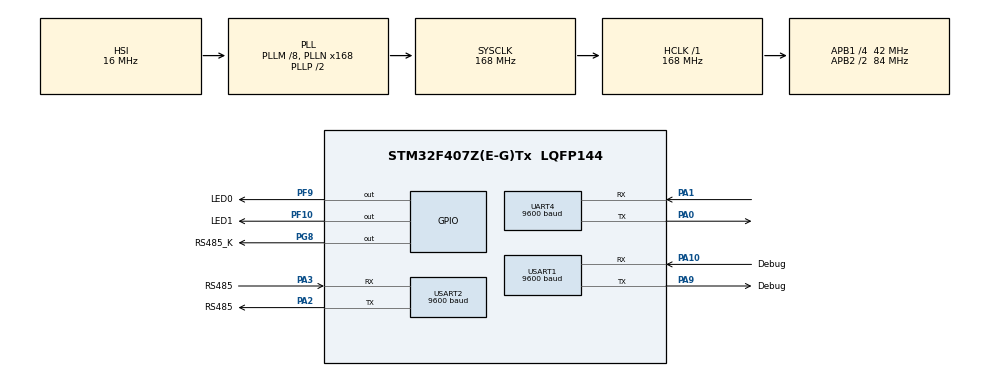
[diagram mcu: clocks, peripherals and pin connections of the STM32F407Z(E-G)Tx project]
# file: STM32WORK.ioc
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FREERTOS.Queues01=TestQueue,16,uint16_t,0,Dynamic,NULL,NULL
FREERTOS.Tasks01=defaultTask,-3,128,StartDefaultTask,Default,NULL,Dynamic,NULL,NULL;dataProcess,0,128,DataProcessTask,Default,NULL,Dynamic,NULL,NULL;ledRun,-1,128,LedRunTask,Default,NULL,Dynamic,NULL,NULL;get_TH_Data,1,128,Get_TH_DataTask,Default,NULL,Dynamic,NULL,NULL
FREERTOS.configUSE_TRACE_FACILITY=1
Mcu.Family=STM32F4
Mcu.Name=STM32F407Z(E-G)Tx
Mcu.Package=LQFP144
NVIC.PriorityGroup=NVIC_PRIORITYGROUP_4
NVIC.TIM1_UP_TIM10_IRQn=true\:15\:0\:false\:false\:true\:false\:false\:true
NVIC.TimeBase=TIM1_UP_TIM10_IRQn
NVIC.TimeBaseIP=TIM1
NVIC.UART4_IRQn=true\:5\:0\:false\:false\:true\:true\:true\:true
NVIC.USART1_IRQn=true\:5\:0\:true\:false\:true\:true\:true\:true
NVIC.USART2_IRQn=true\:5\:0\:false\:false\:true\:true\:true\:true
PA0-WKUP.Mode=Asynchronous
PA0-WKUP.Signal=UART4_TX
PA1.Mode=Asynchronous
PA1.Signal=UART4_RX
PA10.GPIO_Label=Debug
PA10.GPIO_PuPd=GPIO_PULLUP
PA10.Mode=Asynchronous
PA10.Signal=USART1_RX
PA13.Mode=Serial_Wire
PA13.Signal=SYS_JTMS-SWDIO
PA14.Mode=Serial_Wire
PA14.Signal=SYS_JTCK-SWCLK
PA2.GPIO_Label=RS485
PA2.GPIO_PuPd=GPIO_PULLUP
PA2.Mode=Asynchronous
PA2.Signal=USART2_TX
PA3.GPIO_Label=RS485
PA3.GPIO_PuPd=GPIO_PULLUP
PA3.Mode=Asynchronous
PA3.Signal=USART2_RX
PA9.GPIO_Label=Debug
PA9.GPIO_PuPd=GPIO_PULLUP
PA9.Mode=Asynchronous
PA9.Signal=USART1_TX
PF10.GPIO_Label=LED1
PF10.GPIO_Speed=GPIO_SPEED_FREQ_HIGH
PF10.Signal=GPIO_Output
PF9.GPIO_Label=LED0
PF9.GPIO_Speed=GPIO_SPEED_FREQ_HIGH
PF9.Signal=GPIO_Output
PG8.GPIO_Label=RS485_K
PG8.GPIO_PuPd=GPIO_PULLDOWN
PG8.GPIO_Speed=GPIO_SPEED_FREQ_HIGH
PG8.PinState=GPIO_PIN_RESET
PG8.Signal=GPIO_Output
PH0-OSC_IN.Mode=HSE-External-Oscillator
PH0-OSC_IN.Signal=RCC_OSC_IN
PH1-OSC_OUT.Mode=HSE-External-Oscillator
PH1-OSC_OUT.Signal=RCC_OSC_OUT
ProjectManager.HeapSize=0x200
ProjectManager.StackSize=0x400
ProjectManager.TargetToolchain=MDK-ARM V5
RCC.48MHZClocksFreq_Value=84000000
RCC.AHBFreq_Value=168000000
RCC.APB1CLKDivider=RCC_HCLK_DIV4
RCC.APB1Freq_Value=42000000
RCC.APB1TimFreq_Value=84000000
RCC.APB2CLKDivider=RCC_HCLK_DIV2
RCC.APB2Freq_Value=84000000
RCC.APB2TimFreq_Value=168000000
RCC.CortexFreq_Value=168000000
RCC.HCLKFreq_Value=168000000
RCC.HSE_VALUE=25000000
RCC.HSI_VALUE=16000000
RCC.LSE_VALUE=32768
RCC.PLLM=8
RCC.PLLN=168
RCC.SYSCLKFreq_VALUE=168000000
RCC.SYSCLKSource=RCC_SYSCLKSOURCE_PLLCLK
RCC.VCOOutputFreq_Value=336000000
UART4.BaudRate=9600
UART4.VirtualMode=Asynchronous
USART1.BaudRate=9600
USART1.VirtualMode=VM_ASYNC
USART2.BaudRate=9600
USART2.VirtualMode=VM_ASYNC
VP_CRC_VS_CRC.Mode=CRC_Activate
VP_FREERTOS_VS_CMSIS_V1.Mode=CMSIS_V1
VP_SYS_VS_tim1.Mode=TIM1
board=custom

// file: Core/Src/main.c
/* USER CODE BEGIN Header */
/**
  ******************************************************************************
  * @file           : main.c
  * @brief          : Main program body
  ******************************************************************************
  * @attention
  *
  * <h2><center>&copy; Copyright (c) 2022 STMicroelectronics.
  * All rights reserved.</center></h2>
  *
  * This software component is licensed by ST under BSD 3-Clause license,
  * the "License"; You may not use this file except in compliance with the
  * License. You may obtain a copy of the License at:
  *                        opensource.org/licenses/BSD-3-Clause
  *
  ******************************************************************************
  */
/* USER CODE END Header */
#include "main.h"
#include "cmsis_os.h"
#include "crc.h"
#include "usart.h"
#include "gpio.h"

/* USER CODE BEGIN Includes */
#include <stdio.h>
#include "rs485_drv.h"
#include "cpu.h"
/* USER CODE END Includes */

/* USER CODE BEGIN PV */
uint8_t RS485_rxdata[9];
/* USER CODE END PV */

void SystemClock_Config(void);
void MX_FREERTOS_Init(void);

int main(void)
{

  /* MCU Configuration--------------------------------------------------------*/

  /* Reset of all peripherals, Initializes the Flash interface and the Systick. */
  HAL_Init();

  /* Configure the system clock */
  SystemClock_Config();

  /* Initialize all configured peripherals */
  MX_GPIO_Init();
  MX_USART1_UART_Init();
  MX_USART2_UART_Init();
  MX_UART4_Init();
  MX_CRC_Init();
  /* USER CODE BEGIN 2 */
  #define DEBUG 0
  #if DUBUG
  // printf("CRC(循环冗余校验)实验 \n");
  // #define BUFFER_SIZE    114

  // /* 私有变量 ----------------------------------------------------------*/
  // static const uint32_t DataBuffer[BUFFER_SIZE] =
  //   {
  //     0x00001021, 0x20423063, 0x408450a5, 0x60c670e7, 0x9129a14a, 0xb16bc18c,
  //     0xd1ade1ce, 0xf1ef1231, 0x32732252, 0x52b54294, 0x72f762d6, 0x93398318,
  //     0xa35ad3bd, 0xc39cf3ff, 0xe3de2462, 0x34430420, 0x64e674c7, 0x44a45485,
  //     0xa56ab54b, 0x85289509, 0xf5cfc5ac, 0xd58d3653, 0x26721611, 0x063076d7,
  //     0x569546b4, 0xb75ba77a, 0x97198738, 0xf7dfe7fe, 0xc7bc48c4, 0x58e56886,
  //     0x78a70840, 0x18612802, 0xc9ccd9ed, 0xe98ef9af, 0x89489969, 0xa90ab92b,
  //     0x4ad47ab7, 0x6a961a71, 0x0a503a33, 0x2a12dbfd, 0xfbbfeb9e, 0x9b798b58,
  //     0xbb3bab1a, 0x6ca67c87, 0x5cc52c22, 0x3c030c60, 0x1c41edae, 0xfd8fcdec,
  //     0xad2abd0b, 0x8d689d49, 0x7e976eb6, 0x5ed54ef4, 0x2e321e51, 0x0e70ff9f,
  //     0xefbedfdd, 0xcffcbf1b, 0x9f598f78, 0x918881a9, 0xb1caa1eb, 0xd10cc12d,
  //     0xe16f1080, 0x00a130c2, 0x20e35004, 0x40257046, 0x83b99398, 0xa3fbb3da,
  //     0xc33dd31c, 0xe37ff35e, 0x129022f3, 0x32d24235, 0x52146277, 0x7256b5ea,
  //     0x95a88589, 0xf56ee54f, 0xd52cc50d, 0x34e224c3, 0x04817466, 0x64475424,
  //     0x4405a7db, 0xb7fa8799, 0xe75ff77e, 0xc71dd73c, 0x26d336f2, 0x069116b0,
  //     0x76764615, 0x5634d94c, 0xc96df90e, 0xe92f99c8, 0xb98aa9ab, 0x58444865,
  //     0x78066827, 0x18c008e1, 0x28a3cb7d, 0xdb5ceb3f, 0xfb1e8bf9, 0x9bd8abbb,
  //     0x4a755a54, 0x6a377a16, 0x0af11ad0, 0x2ab33a92, 0xed0fdd6c, 0xcd4dbdaa,
  //     0xad8b9de8, 0x8dc97c26, 0x5c644c45, 0x3ca22c83, 0x1ce00cc1, 0xef1fff3e,
  //     0xdf7caf9b, 0xbfba8fd9, 0x9ff86e17, 0x7e364e55, 0x2e933eb2, 0x0ed11ef0
  //   };

  // __IO uint32_t CRCValue = 0;

  // /* Expected CRC Value */
  // uint32_t uwExpectedCRCValue = 0x379E9F06;
  #endif

  /* USER CODE END 2 */

  /* Call init function for freertos objects (in freertos.c) */
  MX_FREERTOS_Init();
  /* Start scheduler */
  osKernelStart();

  /* We should never get here as control is now taken by the scheduler */
  /* Infinite loop */
  while (1)
  {

    /* USER CODE BEGIN 3 */

    // /* 进行冗余循环校验，获取校验码*/
		// //CRCValue = HAL_CRC_Accumulate(&hcrc, (uint32_t *)DataBuffer, BUFFER_SIZE);
	  // CRCValue = HAL_CRC_Calculate(&hcrc, (uint32_t *)DataBuffer, BUFFER_SIZE);
		// printf("\r\n32-bit CRC 校验码为:0x%X\n", CRCValue);

    //  if(CRCValue != uwExpectedCRCValue)
    // {
    //   printf("\n\r CRC wrong value\n\r");
    // }
    // else
    // {
    //   printf("\n\r CRC right value\n\r");
    // }
    // HAL_Delay(2000);
    // Data_process();

  }
  /* USER CODE END 3 */
}

void SystemClock_Config(void)
{
  RCC_OscInitTypeDef RCC_OscInitStruct = {0};
  RCC_ClkInitTypeDef RCC_ClkInitStruct = {0};

  /** Configure the main internal regulator output voltage
  */
  __HAL_RCC_PWR_CLK_ENABLE();
  __HAL_PWR_VOLTAGESCALING_CONFIG(PWR_REGULATOR_VOLTAGE_SCALE1);
  /** Initializes the RCC Oscillators according to the specified parameters
  * in the RCC_OscInitTypeDef structure.
  */
  RCC_OscInitStruct.OscillatorType = RCC_OSCILLATORTYPE_HSI;
  RCC_OscInitStruct.HSIState = RCC_HSI_ON;
  RCC_OscInitStruct.HSICalibrationValue = RCC_HSICALIBRATION_DEFAULT;
  RCC_OscInitStruct.PLL.PLLState = RCC_PLL_ON;
  RCC_OscInitStruct.PLL.PLLSource = RCC_PLLSOURCE_HSI;
  RCC_OscInitStruct.PLL.PLLM = 8;
  RCC_OscInitStruct.PLL.PLLN = 168;
  RCC_OscInitStruct.PLL.PLLP = RCC_PLLP_DIV2;
  RCC_OscInitStruct.PLL.PLLQ = 4;
  if (HAL_RCC_OscConfig(&RCC_OscInitStruct) != HAL_OK)
  {
    Error_Handler();
  }
  /** Initializes the CPU, AHB and APB buses clocks
  */
  RCC_ClkInitStruct.ClockType = RCC_CLOCKTYPE_HCLK|RCC_CLOCKTYPE_SYSCLK
                              |RCC_CLOCKTYPE_PCLK1|RCC_CLOCKTYPE_PCLK2;
  RCC_ClkInitStruct.SYSCLKSource = RCC_SYSCLKSOURCE_PLLCLK;
  RCC_ClkInitStruct.AHBCLKDivider = RCC_SYSCLK_DIV1;
  RCC_ClkInitStruct.APB1CLKDivider = RCC_HCLK_DIV4;
  RCC_ClkInitStruct.APB2CLKDivider = RCC_HCLK_DIV2;

  if (HAL_RCC_ClockConfig(&RCC_ClkInitStruct, FLASH_LATENCY_5) != HAL_OK)
  {
    Error_Handler();
  }
}

void HAL_TIM_PeriodElapsedCallback(TIM_HandleTypeDef *htim)
{
  if (htim->Instance == TIM1) {
    HAL_IncTick();
  }
}

void Error_Handler(void)
{
  __disable_irq();
  while (1)
  {
  }
}

/************************ (C) COPYRIGHT STMicroelectronics *****END OF FILE****/

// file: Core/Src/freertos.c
/* USER CODE BEGIN Header */
/**
  ******************************************************************************
  * File Name          : freertos.c
  * Description        : Code for freertos applications
  ******************************************************************************
  * @attention
  *
  * <h2><center>&copy; Copyright (c) 2022 STMicroelectronics.
  * All rights reserved.</center></h2>
  *
  * This software component is licensed by ST under Ultimate Liberty license
  * SLA0044, the "License"; You may not use this file except in compliance with
  * the License. You may obtain a copy of the License at:
  *                             www.st.com/SLA0044
  *
  ******************************************************************************
  */
/* USER CODE END Header */

#include "FreeRTOS.h"
#include "task.h"
#include "main.h"
#include "cmsis_os.h"

/* USER CODE BEGIN Includes */
#include "usart.h"
#include "cpu.h"
/* USER CODE END Includes */

osThreadId defaultTaskHandle;
osThreadId dataProcessHandle;
osThreadId ledRunHandle;
osThreadId get_TH_DataHandle;
osMessageQId TestQueueHandle;

void StartDefaultTask(void const * argument);
void DataProcessTask(void const * argument);
void LedRunTask(void const * argument);
void Get_TH_DataTask(void const * argument);

void MX_FREERTOS_Init(void); /* (MISRA C 2004 rule 8.1) */

/* GetIdleTaskMemory prototype (linked to static allocation support) */
void vApplicationGetIdleTaskMemory( StaticTask_t **ppxIdleTaskTCBBuffer, StackType_t **ppxIdleTaskStackBuffer, uint32_t *pulIdleTaskStackSize );

/* USER CODE BEGIN GET_IDLE_TASK_MEMORY */
static StaticTask_t xIdleTaskTCBBuffer;
static StackType_t xIdleStack[configMINIMAL_STACK_SIZE];

void vApplicationGetIdleTaskMemory( StaticTask_t **ppxIdleTaskTCBBuffer, StackType_t **ppxIdleTaskStackBuffer, uint32_t *pulIdleTaskStackSize )
{
  *ppxIdleTaskTCBBuffer = &xIdleTaskTCBBuffer;
  *ppxIdleTaskStackBuffer = &xIdleStack[0];
  *pulIdleTaskStackSize = configMINIMAL_STACK_SIZE;
  /* place for user code */
}
/* USER CODE END GET_IDLE_TASK_MEMORY */

void MX_FREERTOS_Init(void) {

  /* Create the queue(s) */
  /* definition and creation of TestQueue */
  osMessageQDef(TestQueue, 16, uint16_t);
  TestQueueHandle = osMessageCreate(osMessageQ(TestQueue), NULL);

  /* Create the thread(s) */
  /* definition and creation of defaultTask */
  osThreadDef(defaultTask, StartDefaultTask, osPriorityIdle, 0, 128);
  defaultTaskHandle = osThreadCreate(osThread(defaultTask), NULL);

  /* definition and creation of dataProcess */
  osThreadDef(dataProcess, DataProcessTask, osPriorityNormal, 0, 128);
  dataProcessHandle = osThreadCreate(osThread(dataProcess), NULL);

  /* definition and creation of ledRun */
  osThreadDef(ledRun, LedRunTask, osPriorityBelowNormal, 0, 128);
  ledRunHandle = osThreadCreate(osThread(ledRun), NULL);

  /* definition and creation of get_TH_Data */
  osThreadDef(get_TH_Data, Get_TH_DataTask, osPriorityAboveNormal, 0, 128);
  get_TH_DataHandle = osThreadCreate(osThread(get_TH_Data), NULL);

}

void StartDefaultTask(void const * argument)
{
  /* USER CODE BEGIN StartDefaultTask */
  /* Infinite loop */
  for(;;)
  {
    printf("default task");
    osDelay(1);
  }
  /* USER CODE END StartDefaultTask */
}

void DataProcessTask(void const * argument)
{
  /* USER CODE BEGIN DataProcessTask */
  /* Infinite loop */
  for(;;)
  {
    DataProcess();
    printf("data process task");
    osDelay(1);
  }
  /* USER CODE END DataProcessTask */
}

void LedRunTask(void const * argument)
{
  /* USER CODE BEGIN LedRunTask */
  /* Infinite loop */
  for(;;)
  {
    HAL_GPIO_WritePin(LED0_GPIO_Port,LED0_Pin,GPIO_PIN_SET);
    HAL_GPIO_WritePin(LED0_GPIO_Port,LED0_Pin,GPIO_PIN_RESET);
    HAL_GPIO_WritePin(LED1_GPIO_Port,LED0_Pin,GPIO_PIN_SET);
    HAL_GPIO_WritePin(LED1_GPIO_Port,LED0_Pin,GPIO_PIN_RESET);
    printf("led run task");
    osDelay(1);
  }
  /* USER CODE END LedRunTask */
}

void Get_TH_DataTask(void const * argument)
{
  /* USER CODE BEGIN Get_TH_DataTask */
  /* Infinite loop */
  for(;;)
  {
    Get_Temp_Humi_Data();
    Analysis_TH_Data();
    printf("get th task");
    osDelay(1);
  }
  /* USER CODE END Get_TH_DataTask */
}

/************************ (C) COPYRIGHT STMicroelectronics *****END OF FILE****/
